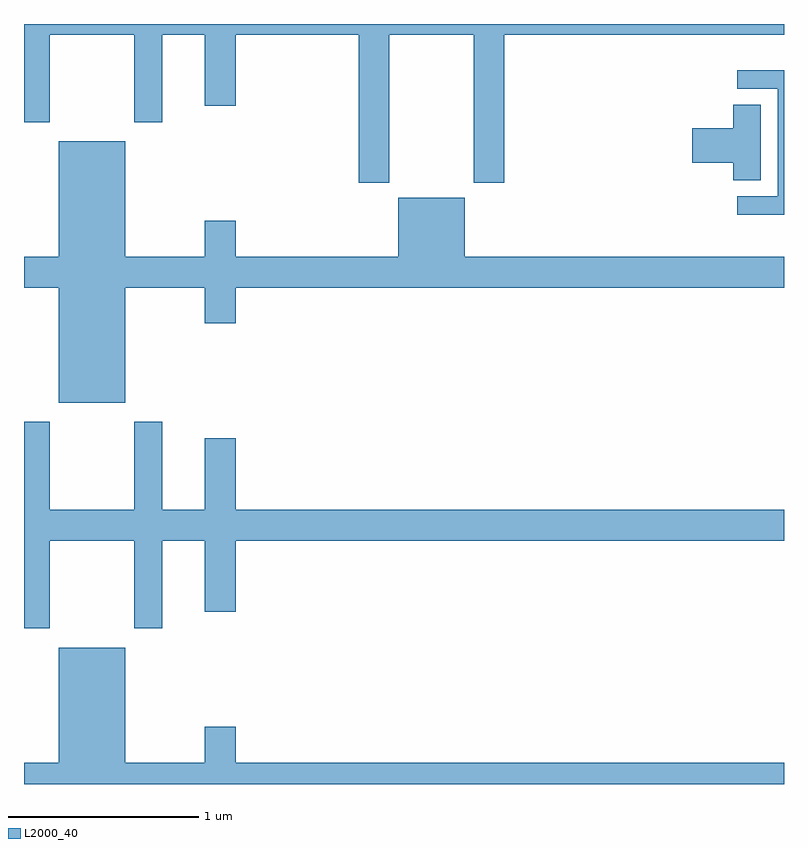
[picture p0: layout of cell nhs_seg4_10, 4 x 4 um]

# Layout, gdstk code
import gdstk
lib = gdstk.Library(unit=1e-6, precision=1e-09)
def P(c, l, *ps):  # polygons
    for p in ps: c.add(gdstk.Polygon(p, *l))
L2000_40 = (2000, 40)

nhs_seg4_10 = lib.new_cell('nhs_seg4_10')
P(nhs_seg4_10, L2000_40, [(112.923,772.844),(113.368,772.844),(113.368,772.065),(113.528,772.065),(113.528,772.844),(115,772.844),(115,772.9),(111,772.9),(111,772.383),(111.135,772.383),(111.135,772.844),(111.58,772.844),(111.58,772.383),(111.727,772.383),(111.727,772.844),(111.95,772.844),(111.95,772.47),(112.114,772.47),(112.114,772.844),(112.763,772.844),(112.763,772.065),(112.923,772.065)],
  [(115,772.656),(114.753,772.656),(114.753,772.56),(114.966,772.56),(114.966,771.993),(114.753,771.993),(114.753,771.895),(115,771.895)],
  [(114.877,772.475),(114.734,772.475),(114.734,772.352),(114.516,772.352),(114.516,772.169),(114.734,772.169),(114.734,772.078),(114.877,772.078)],
  [(111.532,771.512),(111.95,771.512),(111.95,771.324),(112.114,771.324),(112.114,771.512),(115,771.512),(115,771.676),(113.32,771.676),(113.32,771.985),(112.97,771.985),(112.97,771.676),(112.114,771.676),(112.114,771.865),(111.95,771.865),(111.95,771.676),(111.532,771.676),(111.532,772.282),(111.182,772.282),(111.182,771.676),(111,771.676),(111,771.512),(111.182,771.512),(111.182,770.906),(111.532,770.906)],
  [(111.135,770.18),(111.58,770.18),(111.58,769.719),(111.727,769.719),(111.727,770.18),(111.95,770.18),(111.95,769.806),(112.114,769.806),(112.114,770.18),(115,770.18),(115,770.344),(112.114,770.344),(112.114,770.719),(111.95,770.719),(111.95,770.344),(111.727,770.344),(111.727,770.806),(111.58,770.806),(111.58,770.344),(111.135,770.344),(111.135,770.806),(111,770.806),(111,769.719),(111.135,769.719)],
  [(115,769.012),(112.114,769.012),(112.114,769.201),(111.95,769.201),(111.95,769.012),(111.532,769.012),(111.532,769.618),(111.182,769.618),(111.182,769.012),(111,769.012),(111,768.9),(115,768.9)])

lib.write_gds('nhs_seg4_10.gds')
